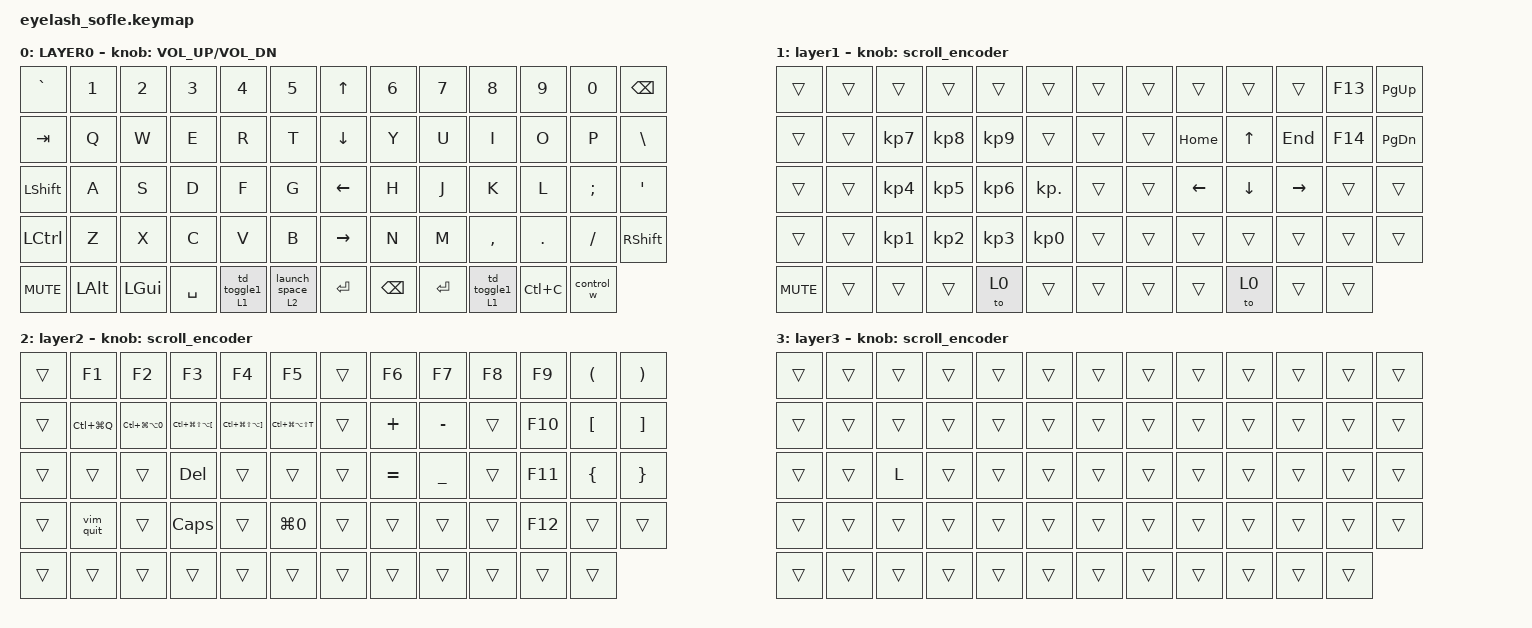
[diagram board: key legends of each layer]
// my version
#define ZMK_POINTING_DEFAULT_MOVE_VAL 1200  // 600
#define ZMK_POINTING_DEFAULT_SCRL_VAL 25   // 10


#define LOCK_SCREEN &kp LC(LG(Q))
#define CHANGE_COLOR &kp LC(LG(LA(N0)))
#define TOGGLE_WINDOW &kp LC(LG(LA(LS(T))))
#define SCREEN_SHOT &kp LG(N0)
#define MOVE_LEFT_WIN &kp LC(LG(LS(LA(LEFT_BRACKET))))
#define MOVE_RIGHT_WIN &kp LC(LG(LS(LA(RIGHT_BRACKET))))
#define MYCAPSLOCK &kp LC(LS(RS(LSHIFT)))
#define CONTROL_C &kp LC(C)

#include <input/processors.dtsi>
#include <zephyr/dt-bindings/input/input-event-codes.h>
#include <behaviors.dtsi>
#include <dt-bindings/zmk/bt.h>
#include <dt-bindings/zmk/keys.h>
#include <dt-bindings/zmk/outputs.h>
#include <dt-bindings/zmk/pointing.h>
#include <dt-bindings/zmk/rgb.h>




///////////////////////////////////////////////////////
// use case: in layer0 I want to press a button1 that if I just press it, it will go to layer3 and stay there. If I press button1 with another button it will use layer3 just for that button
///////////////////////////////////////////////////////
/* &lt { */
/*     tapping-term-ms = <200>;     // How long you have to hold to count as a hold (200ms is standard) */
/*     quick-tap-ms = <150>;        // Allows fast double-tapping */
/*     retro-tap;                   // If you release without pressing another key, always sends the tap */
/*     flavor = "tap-preferred"; */
/*     toggle-mode = "zmk,toggle-layer"; // This enables the locking behavior! */
/* }; */
// usage:
// &lt 3 3: The first 3 tells ZMK which layer to switch to when held (Layer 3). The second 3 tells ZMK which layer to toggle/lock into when tapped (Layer 3).
///////////////////////////////////////////////////////

&mmv_input_listener { input-processors = <&zip_xy_scaler 2 1>; };

&msc_input_listener { input-processors = <&zip_scroll_scaler 2 1>; };

&msc {
    acceleration-exponent = <1>;      // 0
    time-to-max-speed-ms = <100>;       // 300
    delay-ms = <0>;                   // 0
};

&mmv {
    time-to-max-speed-ms = <500>;
    acceleration-exponent = <1>;
    trigger-period-ms = <16>;
};

&soft_off { hold-time-ms = <2000>; };

/ {
    scroll_encoder: scroll_encoder {
        compatible = "zmk,behavior-sensor-rotate";
        #sensor-binding-cells = <0>;
        bindings = <&msc SCRL_DOWN>, <&msc SCRL_UP>;

        tap-ms = <100>;
    };
    behaviors {
        // Changed back to <2> to satisfy the hold-tap engine requirements
        tt_layer1: tt_layer1 {
            compatible = "zmk,behavior-hold-tap";
            #binding-cells = <2>; // Must be 2
            flavor = "tap-preferred";
            tapping-term-ms = <200>;
            quick-tap-ms = <150>;
            bindings = <&mo>, <&td_toggle1>;
        };

        td_toggle1: td_toggle1 {
            compatible = "zmk,behavior-tap-dance";
            #binding-cells = <0>;
            tapping-term-ms = <300>;
            bindings = <&none>, <&to 1>;
        };

        // Changed back to <2> to satisfy the hold-tap engine requirements
        tt_layer1left: tt_layer1left {
            compatible = "zmk,behavior-hold-tap";
            #binding-cells = <2>; // Must be 2
            flavor = "tap-preferred";
            tapping-term-ms = <200>;
            quick-tap-ms = <150>;
            bindings = <&mo>, <&td_toggle1>;
        };

        td_toggle1left: td_toggle1left {
            compatible = "zmk,behavior-tap-dance";
            #binding-cells = <0>;
            tapping-term-ms = <300>;
            bindings = <&launch_space>, <&to 1>;
        };


        tt_layer3: tt_layer3 {
            compatible = "zmk,behavior-hold-tap";
            #binding-cells = <2>; // Must be 2
            flavor = "tap-preferred";
            tapping-term-ms = <200>;
            quick-tap-ms = <150>;
            bindings = <&mo>, <&td_toggle3>;
        };



        td_toggle3: td_toggle3 {
            compatible = "zmk,behavior-tap-dance";
            #binding-cells = <0>;
            tapping-term-ms = <300>;
            bindings = <&launch_space>, <&to 3>;
        };


        lt_nav: lt_nav {
            compatible = "zmk,behavior-hold-tap";
            #binding-cells = <2>;
            flavor = "tap-preferred";
            tapping-term-ms = <200>;
            bindings = <&mo>, <&launch_space>; // Hold = layer parameter, Tap = your existing macro
        };
    };

    /* // DOUBLE TAP LOCK THE LAYER */
    /* behaviors { */
    /*     // Our existing hold-tap behavior */
    /*     tt_layer: tt_layer { */
    /*         compatible = "zmk,behavior-hold-tap"; */
    /*         #binding-cells = <2>; */
    /*         flavor = "tap-preferred"; */
    /*         tapping-term-ms = <200>; */
    /*         quick-tap-ms = <150>; */
    /*         bindings = <&mo>, <&td_toggle3>; // <-- Change the tap binding to our new Tap-Dance */
    /*     }; */
    /**/
    /*     // NEW: Tap-Dance that requires 2 taps to toggle Layer 3 */
    /*     td_toggle3: td_toggle3 { */
    /*         compatible = "zmk,behavior-tap-dance"; */
    /*         #binding-cells = <0>; */
    /*         tapping-term-ms = <300>; // Time window to finish the double-tap */
    /*         bindings = <&none>, <&tog 3>; // 1 tap = do nothing, 2 taps = lock Layer 3 */
    /*     }; */
    /* }; */

    // SINGLE TAP to lock (issue: accident can lock the layer)
    /* behaviors { */
    /*     tt_layer: tt_layer { */
    /*         compatible = "zmk,behavior-hold-tap"; */
    /*         #binding-cells = <2>; */
    /*         flavor = "tap-preferred"; */
    /*         tapping-term-ms = <200>; */
    /*         quick-tap-ms = <150>; */
    /*         bindings = <&mo>, <&tog>; // Hold = Momentary layer, Tap = Toggle layer lock */
    /*     }; */
    /* }; */
    /**/
    combos {
        compatible = "zmk,combos";

        softoff {
            bindings = <&soft_off>;
            key-positions = <14 28 40>;
        };
    };

    macros {
        SHIFT_MCLK: SHIFT_MCLK {
            compatible = "zmk,behavior-macro";
            #binding-cells = <0>;
            bindings =
                <&macro_press>,
                <&kp LEFT_SHIFT>,
                <&macro_press>,
                <&mkp MB3>,
                <&macro_pause_for_release>,
                <&macro_release>,
                <&kp LEFT_SHIFT &mkp MB3>;

            label = "SHIFT_MCLK";
        };

        launch_space: launch_space {
            compatible = "zmk,behavior-macro";
            #binding-cells = <0>;
            bindings
                = <&macro_press &kp LGUI>     // Hold Command
                , <&macro_tap &kp SPACE>      // Tap Space
                , <&macro_release &kp LGUI>;  // Release Command
        };

        // NEW: Dedicated Ctrl+W Macro to protect the layout grid
        control_w: control_w {
            compatible = "zmk,behavior-macro";
            #binding-cells = <0>;
            bindings
                = <&macro_press &kp LCTRL>     // Hold Control
                , <&macro_tap &kp W>          // Tap W
                , <&macro_release &kp LCTRL>;  // Release Control
        };

        vim_quit: vim_quit {
            compatible = "zmk,behavior-macro";
            #binding-cells = <0>;
            bindings
                = <&kp ESC>
                , <&kp LS(Z)>
                , <&kp LS(Z)>
                ;
        };
    };

    keymap {
        compatible = "zmk,keymap";

        layer0 {
            bindings = <
&kp GRAVE   &kp N1        &kp N2        &kp N3        &kp N4               &kp N5           &kp UP_ARROW     &kp N6     &kp N7           &kp N8     &kp N9           &kp N0       &kp BACKSPACE
&kp TAB     &kp Q         &kp W         &kp E         &kp R                &kp T            &kp DOWN_ARROW   &kp Y      &kp U            &kp I      &kp O            &kp P        &kp BSLH
&kp LSHFT   &kp A         &kp S         &kp D         &kp F                &kp G            &kp LEFT_ARROW   &kp H      &kp J            &kp K      &kp L            &kp SEMI     &kp SINGLE_QUOTE
&kp LCTRL   &kp Z         &kp X         &kp C         &kp V                &kp B            &kp RIGHT_ARROW  &kp N      &kp M            &kp COMMA  &kp DOT          &kp FSLH     &kp RIGHT_SHIFT
&kp C_MUTE  &kp LEFT_ALT  &kp LEFT_GUI  &kp SPACE     &tt_layer1 1 0       &lt_nav 2 0      &kp ENTER        &kp BACKSPACE    &kp ENTER  &tt_layer1 1 0   CONTROL_C    &control_w
            >;

            sensor-bindings = <&inc_dec_kp C_VOLUME_UP C_VOL_DN>;
            display-name = "LAYER0";
        };

        layer_1 {
            bindings = <
&trans      &trans     &trans     &trans     &trans     &trans       &trans     &trans     &trans     &trans     &trans     &kp F13    &kp PG_UP
&trans      &trans     &kp KP_N7  &kp KP_N8  &kp KP_N9  &trans       &trans     &trans     &kp HOME   &kp UP     &kp END    &kp F14    &kp PG_DN
&trans      &trans     &kp KP_N4  &kp KP_N5  &kp KP_N6  &kp KP_DOT   &trans     &trans     &kp LEFT   &kp DOWN   &kp RIGHT  &trans     &trans
&trans      &trans     &kp KP_N1  &kp KP_N2  &kp KP_N3  &kp KP_N0    &trans     &trans     &trans     &trans     &trans     &trans     &trans
&kp C_MUTE  &trans     &trans     &trans     &to 0     &trans       &trans     &trans     &trans     &to 0      &trans     &trans
            >;

            display-name = "layer1";
            sensor-bindings = <&scroll_encoder>;
        };


       layer_2 {
            bindings = <
&trans  &kp F1       &kp F2        &kp F3         &kp F4          &kp F5          &trans  &kp F6     &kp F7     &kp F8  &kp F9   &kp LPAR          &kp RPAR
&trans  LOCK_SCREEN  CHANGE_COLOR  MOVE_LEFT_WIN  MOVE_RIGHT_WIN  TOGGLE_WINDOW   &trans  &kp PLUS   &kp MINUS  &trans  &kp F10  &kp LEFT_BRACKET  &kp RIGHT_BRACKET
&trans  &trans       &trans        &kp DELETE         &trans          &trans          &trans  &kp EQUAL  &kp UNDER  &trans  &kp F11  &kp LEFT_BRACE    &kp RIGHT_BRACE
&trans  &vim_quit    &trans        &kp CAPS     &trans          SCREEN_SHOT     &trans  &trans     &trans     &trans  &kp F12  &trans            &trans
&trans  &trans       &trans        &trans         &trans          &trans          &trans  &trans     &trans     &trans  &trans   &trans
            >;

            display-name = "layer2";
            sensor-bindings = <&scroll_encoder>;
        };


        layer_3 {
            bindings = <
&trans  &trans  &trans     &trans  &trans  &trans    &trans      &trans  &trans      &trans  &trans  &trans  &trans
&trans  &trans  &trans     &trans  &trans  &trans    &trans      &trans  &trans      &trans  &trans  &trans  &trans
&trans  &trans  &kp L     &trans  &trans  &trans    &trans      &trans  &trans      &trans  &trans  &trans  &trans
&trans  &trans  &trans     &trans  &trans  &trans    &trans      &trans  &trans      &trans  &trans  &trans  &trans
&trans  &trans  &trans     &trans  &trans  &trans    &trans      &trans  &trans  &trans  &trans  &trans
            >;

            display-name = "layer3";
            sensor-bindings = <&scroll_encoder>;
        };

    };
};
